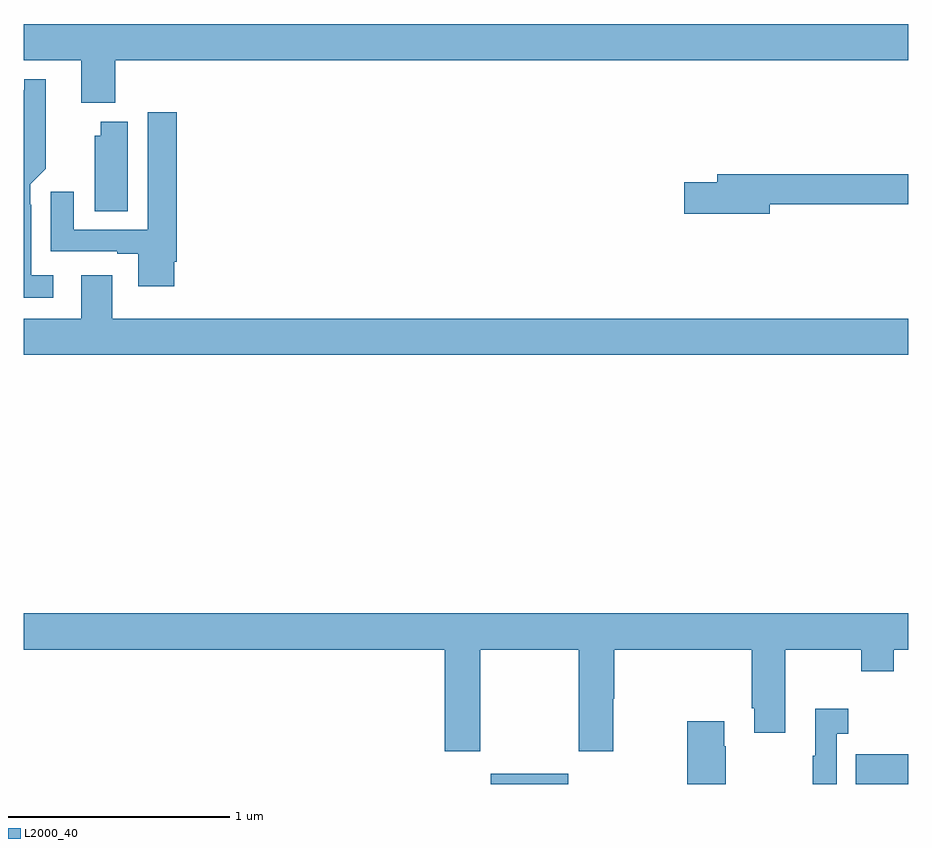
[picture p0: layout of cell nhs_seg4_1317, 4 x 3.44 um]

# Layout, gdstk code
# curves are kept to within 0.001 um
import gdstk
lib = gdstk.Library(unit=1e-6, precision=1e-09)
def R(c, l, rs):  # rectangles x0, y0, x1, y1
    for r in rs: c.add(gdstk.rectangle(r[:2], r[2:], *l))
def P(c, l, *ps):  # polygons
    for p in ps: c.add(gdstk.Polygon(p, *l))
L2000_40 = (2000, 40)

nhs_seg4_1317 = lib.new_cell('nhs_seg4_1317')
R(nhs_seg4_1317, L2000_40, [(181.112,774.9,181.462,774.946), (182.761,774.9,183,775.035)])
P(nhs_seg4_1317, L2000_40, [(179.414,778.172),(183,778.172),(183,778.336),(179,778.336),(179,778.172),(179.261,778.172),(179.261,777.98),(179.414,777.98)],
  [(179.134,777.199),(179.035,777.199),(179.035,777.518),(179.031,777.518),(179.031,777.612),(179.101,777.682),(179.1,778.087),(179.003,778.087),(179.003,778.036),(179,778.036),(179,777.098),(179.134,777.098)],
  [(179.68,777.262),(179.693,777.262),(179.693,777.937),(179.561,777.937),(179.561,777.405),(179.227,777.405),(179.227,777.577),(179.123,777.577),(179.123,777.309),(179.423,777.309),(179.423,777.297),(179.519,777.297),(179.519,777.15),(179.68,777.15)],
  [(179.47,777.895),(179.348,777.895),(179.348,777.831),(179.321,777.831),(179.321,777.49),(179.47,777.49)],
  [(182.374,777.52),(183,777.52),(183,777.656),(182.135,777.656),(182.135,777.62),(181.986,777.62),(181.986,777.478),(182.374,777.478)],
  [(183,777.004),(179.401,777.004),(179.401,777.199),(179.261,777.199),(179.261,777.004),(179,777.004),(179,776.84),(183,776.84)],
  [(181.065,775.508),(181.51,775.508),(181.51,775.047),(181.665,775.047),(181.665,775.286),(181.67,775.286),(181.67,775.508),(182.291,775.508),(182.291,775.243),(182.303,775.243),(182.303,775.131),(182.443,775.131),(182.443,775.508),(182.788,775.508),(182.788,775.409),(182.935,775.409),(182.935,775.508),(183,775.508),(183,775.672),(179,775.672),(179,775.508),(180.905,775.508),(180.905,775.047),(181.065,775.047)],
  [(182.676,775.127),(182.728,775.127),(182.728,775.24),(182.579,775.24),(182.579,775.027),(182.568,775.027),(182.568,774.9),(182.676,774.9)],
  [(182.175,775.07),(182.167,775.07),(182.167,775.183),(182,775.183),(182,774.9),(182.175,774.9)])

lib.write_gds('nhs_seg4_1317.gds')
